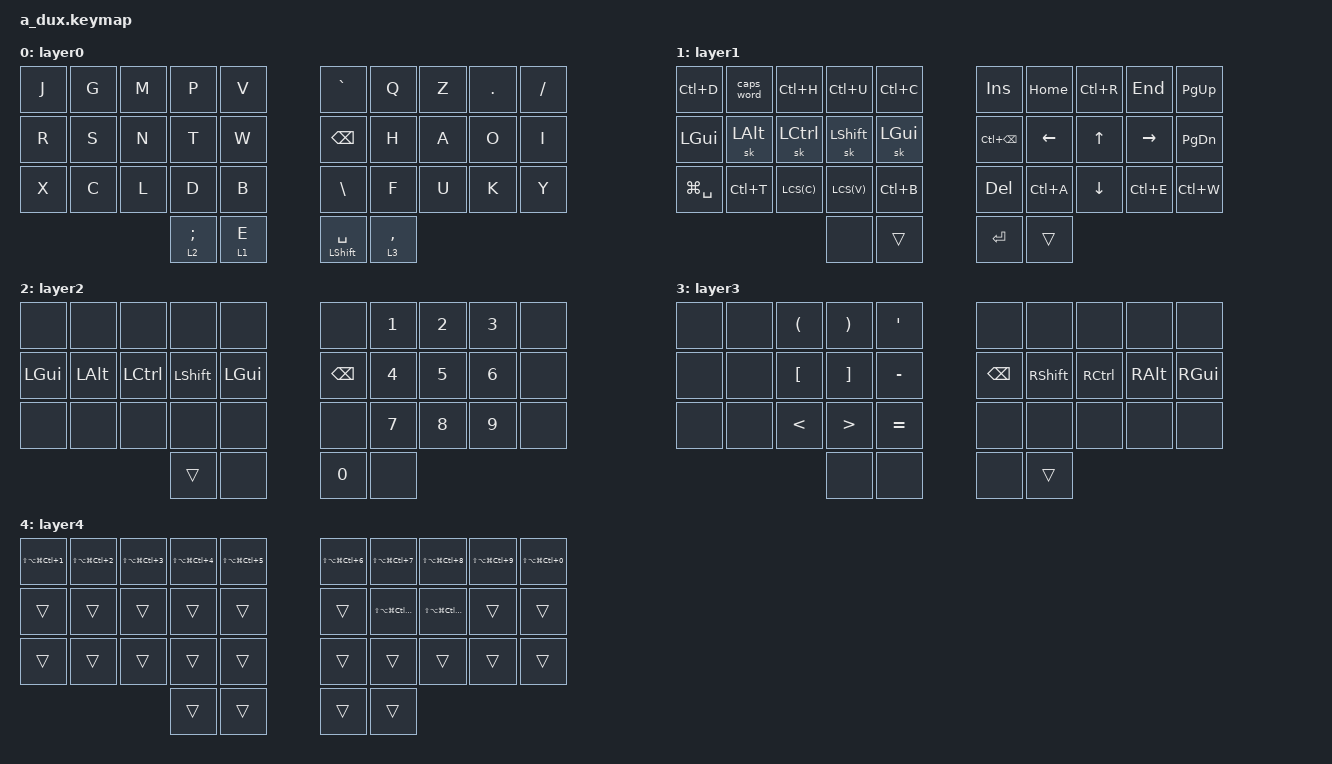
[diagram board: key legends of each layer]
/*
* Copyright (c) 2020 The ZMK Contributors
*
* SPDX-License-Identifier: MIT
*/

#include <behaviors.dtsi>
#include <dt-bindings/zmk/keys.h>
#include <dt-bindings/zmk/bt.h>
#include <dt-bindings/zmk/ext_power.h>

#define LCS(a) LC(LS(a))

&mt {
    tapping-term-ms = <200>;
};

/ {
  combos {
      compatible = "zmk,combos";
      combo_esc {
          timeout-ms = <50>;
          key-positions = <5 6>;
          bindings = <&kp ESC>;
      };
      combo_tab {
          timeout-ms = <50>;
          key-positions = <6 7>;
          bindings = <&kp TAB>;
      };
      combo_f12 {
          timeout-ms = <50>;
          key-positions = <5 6 7>;
          bindings = <&kp F12>;
      };
      combo_bootloader {
          timeout-ms = <50>;
          key-positions = <0 10 20>;
          bindings = <&bootloader>;
      };
  };

  keymap {
    compatible = "zmk,keymap";

layer0 {
        bindings = <
        &kp J   &kp G   &kp M   &kp P   &kp V         &kp GRAVE     &kp Q   &kp Z   &kp DOT &kp FSLH
        &kp R   &kp S   &kp N   &kp T   &kp W         &kp BSPC      &kp H   &kp A   &kp O   &kp I
        &kp X   &kp C   &kp L   &kp D   &kp B         &kp BSLH      &kp F   &kp U   &kp K   &kp Y
                         &lt 2 SEMI   &lt 1 E         &mt LSHFT SPACE  &lt 3 COMMA
        >;
      };

layer1 {
        bindings = <
        &kp LC(D)     &caps_word &kp LC(H)  &kp LC(U)  &kp LC(C)     &kp INS       &kp HOME  &kp LC(R) &kp END    &kp PG_UP
        &kp LGUI      &sk LALT   &sk LCTL   &sk LSHFT  &sk LGUI      &kp LC(BSPC)  &kp LEFT  &kp UP    &kp RIGHT  &kp PG_DN
        &kp LG(SPACE) &kp LC(T)  &kp LCS(C) &kp LCS(V) &kp LC(B)     &kp DEL       &kp LC(A) &kp DOWN  &kp LC(E)  &kp LC(W)
                                            &none      &trans        &kp ENTER     &trans
        >;
      };

layer2 {
        bindings = <
        &none       &none     &none     &none     &none         &none         &kp N1    &kp N2    &kp N3    &none
        &kp LGUI    &kp LALT  &kp LCTL  &kp LSHFT &kp LGUI      &kp BSPC      &kp N4    &kp N5    &kp N6    &none
        &none       &none     &none     &none     &none         &none         &kp N7    &kp N8    &kp N9    &none
                                        &trans    &none         &kp N0        &none
        >;
      };

layer3 {
        bindings = <
        &none       &none     &kp LPAR  &kp RPAR  &kp QUOT      &none         &none     &none     &none     &none
        &none       &none     &kp LBKT  &kp RBKT  &kp MINUS     &kp BSPC      &kp RSHFT &kp RCTL  &kp RALT  &kp RGUI
        &none       &none     &kp LT    &kp GT    &kp EQUAL     &none         &none     &none     &none     &none
                                        &none     &none         &none         &trans
        >;
      };

layer4 {
        bindings = <
        &kp LS(LA(LG(LC(N1)))) &kp LS(LA(LG(LC(N2)))) &kp LS(LA(LG(LC(N3)))) &kp LS(LA(LG(LC(N4)))) &kp LS(LA(LG(LC(N5)))) &kp LS(LA(LG(LC(N6)))) &kp LS(LA(LG(LC(N7)))) &kp LS(LA(LG(LC(N8)))) &kp LS(LA(LG(LC(N9)))) &kp LS(LA(LG(LC(N0)))) &trans &trans &trans &trans &trans &trans &kp LS(LA(LG(LC(LEFT)))) &kp LS(LA(LG(LC(RIGHT)))) &trans &trans &trans &trans &trans &trans &trans &trans &trans &trans &trans &trans &trans &trans &trans &trans
        >;
      };
  };
};
